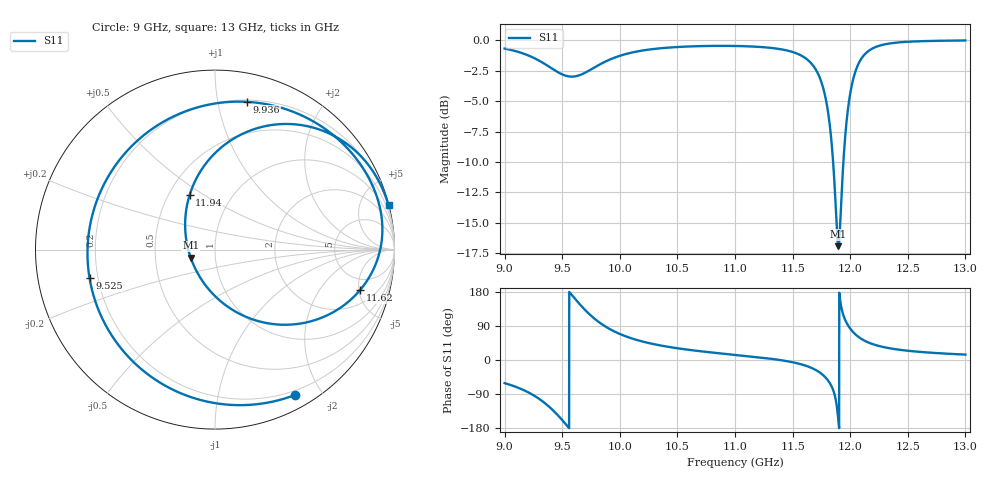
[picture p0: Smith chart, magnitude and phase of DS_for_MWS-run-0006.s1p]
! TOUCHSTONE file generated by CST DESIGN STUDIO
! Date and time: Tue Feb  4 17:35:11 2025
! Project name: C:\Work\MatlabApps\UnitCellOptimizationMatlab\CST\unitcell.cst
! Tree item: Tasks\Sweep1\SPara1\S-Parameters
! Header version: 2024
! Port assignment regex: !\s*Touchstone port\s*([0-9]+)\s*=\s*(CST MWS port|CST DES external port|CST DES block port)\s*(.+)\s* \(\"(.*)\"\)(\s*mode\s*([0-9]+))?.*
! Touchstone port assignment:
! Touchstone port 1 = CST DES external port 1 ("")
# GHz S MA R 50
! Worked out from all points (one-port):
!   4001 points, 9 GHz to 13 GHz, reference 50 ohm
!   lowest |S11| = -16.9 dB at 11.9 GHz (marker M1), VSWR 1.33, Z = 37.9 - j3.5 ohm
!   |S11| at or under -10 dB: 11.85 GHz to 11.94 GHz (88.97 MHz wide, 0.748 % of centre)
!   S11 on the Smith chart (normalised r, x): 9 GHz: 0.15, -1.69; 9.525 GHz: 0.17, -0.11; 9.936 GHz: 0.21, +1.21; 11.62 GHz: 3.35, -5.11; 11.94 GHz: 0.64, +0.43; 13 GHz: 0.05, +7.99
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9  0.925 -61.0
9.146  0.8877 -76.8
9.296  0.8268 -101.8
9.398  0.7727 -126.4
9.5  0.7244 -158.5
9.525  0.7168 -167.3
9.619  0.712 158.8
9.732  0.7505 122.1
9.825  0.7951 98.6
9.936  0.8421 77.9
10  0.8636 68.7
10.215  0.9107 47.4
10.5  0.9385 31.0
11  0.9478 13.6
11.5  0.8954 -5.9
11.621  0.8382 -15.7
11.721  0.7282 -29.9
11.803  0.5244 -52.2
11.851  0.32 -78.4
11.883  0.1718 -120.5
11.898  0.1427 -161.6
11.944  0.3342 115.2
12  0.6038 82.9
12.068  0.7935 61.8
12.184  0.9204 43.1
12.312  0.965 32.7
12.5  0.9862 24.4
13  0.9985 14.3
